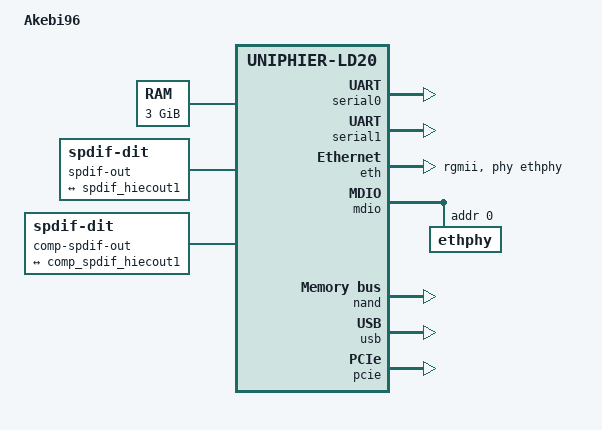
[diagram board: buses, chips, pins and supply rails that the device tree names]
// SPDX-License-Identifier: GPL-2.0+ OR MIT
//
// Device Tree Source for Akebi96 Development Board
//
// Derived from uniphier-ld20-global.dts.
//
// Copyright (C) 2015-2017 Socionext Inc.
//   Author: Masahiro Yamada <yamada.masahiro@socionext.com>
//           Kunihiko Hayashi <hayashi.kunihiko@socionext.com>

/dts-v1/;
#include <dt-bindings/gpio/uniphier-gpio.h>
#include "uniphier-ld20.dtsi"

/ {
	model = "Akebi96";
	compatible = "socionext,uniphier-ld20-akebi96",
		     "socionext,uniphier-ld20";

	chosen {
		stdout-path = "serial0:115200n8";
	};

	aliases {
		serial0 = &serial0;
		serial1 = &serial1;
		serial2 = &serial2;
		serial3 = &serial3;
		i2c0 = &i2c0;
		i2c1 = &i2c1;
		i2c2 = &i2c2;
		i2c3 = &i2c3;
		i2c4 = &i2c4;
		i2c5 = &i2c5;
	};

	memory@80000000 {
		device_type = "memory";
		reg = <0 0x80000000 0 0xc0000000>;
	};

	sound {
		compatible = "audio-graph-card";
		label = "UniPhier LD20";
		widgets = "Headphone", "Headphones";
		dais = <&spdif_port0
			&comp_spdif_port0>;
	};

	spdif-out {
		compatible = "linux,spdif-dit";
		#sound-dai-cells = <0>;

		port@0 {
			spdif_tx: endpoint {
				remote-endpoint = <&spdif_hiecout1>;
			};
		};
	};

	comp-spdif-out {
		compatible = "linux,spdif-dit";
		#sound-dai-cells = <0>;

		port@0 {
			comp_spdif_tx: endpoint {
				remote-endpoint = <&comp_spdif_hiecout1>;
			};
		};
	};
};

&serial0 {
	status = "okay";
};

&serial1 {
	status = "okay";
};

&spdif_hiecout1 {
	remote-endpoint = <&spdif_tx>;
};

&comp_spdif_hiecout1 {
	remote-endpoint = <&comp_spdif_tx>;
};

&eth {
	status = "okay";
	phy-mode = "rgmii";
	pinctrl-0 = <&pinctrl_ether_rgmii>;
	phy-handle = <&ethphy>;
};

&mdio {
	ethphy: ethphy@0 {
		reg = <0>;
	};
};

&nand {
	status = "okay";
};

&usb {
	status = "okay";
};

&pcie {
	status = "okay";
};
